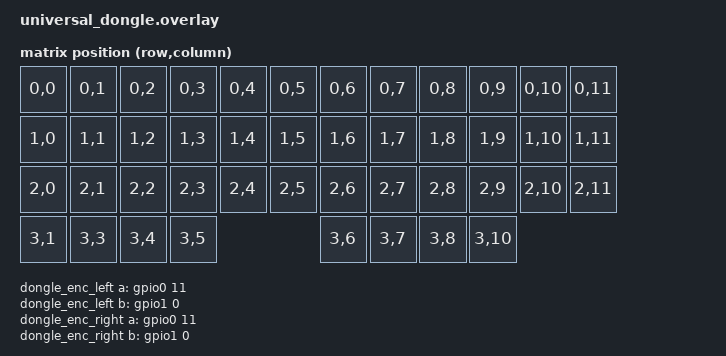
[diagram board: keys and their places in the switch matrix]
/*
 * Copyright (c) 2024 The ZMK Contributors
 *
 * SPDX-License-Identifier: MIT
 */

#include <dt-bindings/zmk/matrix_transform.h>
#include <dt-bindings/gpio/gpio.h>
#include "../../../behaviors/cirque_pointing.dtsi"

/ {
    chosen {
        zmk,kscan = &mock_kscan;
        zmk,matrix_transform = &default_transform;
    };

    mock_kscan: mock_kscan_0 {
        compatible = "zmk,kscan-mock";
        columns = <0>;
        rows = <0>;
        events = <0>;
    };

    // Universal dongle transform: supports Corne, Sweep, and Totem simultaneously.
    //
    // Global column layout (12 columns × 4 rows):
    //   col 0      : Corne left outer (finger rows only)
    //   cols 1-5   : Left inner finger keys (Sweep, Totem, Corne)
    //   cols 6-10  : Right inner finger keys (Sweep, Totem, Corne)
    //   col 11     : Corne right outer (finger rows only)
    //
    // Thumb row (row 3):
    //   RC(3,1)    : Totem ESC outer key
    //   RC(3,3-5)  : Left thumb cluster (all keyboards)
    //   RC(3,6-8)  : Right thumb cluster (all keyboards)
    //   RC(3,10)   : Totem BSLH outer key
    //
    // Keymap binding order per layer (44 keys):
    //   &none KM_*_R0 &none  (12 bindings × 3 finger rows)
    //   &kp ESC KM_THUMBS &kp BSLH  (8 bindings)
    default_transform: keymap_transform_0 {
        compatible = "zmk,matrix-transform";
        columns = <12>;
        rows = <4>;
        map = <
            RC(0,0) RC(0,1) RC(0,2) RC(0,3) RC(0,4) RC(0,5)    RC(0,6) RC(0,7) RC(0,8) RC(0,9) RC(0,10) RC(0,11)
            RC(1,0) RC(1,1) RC(1,2) RC(1,3) RC(1,4) RC(1,5)    RC(1,6) RC(1,7) RC(1,8) RC(1,9) RC(1,10) RC(1,11)
            RC(2,0) RC(2,1) RC(2,2) RC(2,3) RC(2,4) RC(2,5)    RC(2,6) RC(2,7) RC(2,8) RC(2,9) RC(2,10) RC(2,11)
            RC(3,1) RC(3,3) RC(3,4) RC(3,5)                    RC(3,6) RC(3,7) RC(3,8) RC(3,10)
        >;
    };

    // No physical encoders on the dongle: these disabled nodes are just
    // slots so the keymap sensor indexes match the peripheral halves.
    // sweep_dongle_left sends sensor index 0 (left encoder) and sweep_right
    // sends index 1 (right encoder) over the split transport.
    dongle_enc_left: dongle_enc_left {
        compatible = "alps,ec11";
        a-gpios = <&gpio0 11 (GPIO_ACTIVE_HIGH | GPIO_PULL_UP)>;
        b-gpios = <&gpio1 0 (GPIO_ACTIVE_HIGH | GPIO_PULL_UP)>;
        steps = <15>;
        status = "disabled";
    };
    dongle_enc_right: dongle_enc_right {
        compatible = "alps,ec11";
        a-gpios = <&gpio0 11 (GPIO_ACTIVE_HIGH | GPIO_PULL_UP)>;
        b-gpios = <&gpio1 0 (GPIO_ACTIVE_HIGH | GPIO_PULL_UP)>;
        steps = <15>;
        status = "disabled";
    };

    sensors: sensors {
        compatible = "zmk,keymap-sensors";
        sensors = <&dongle_enc_left &dongle_enc_right>;
    };

    // Split input transport — receives pointing data from sweep_right trackpad
    split_inputs {
        #address-cells = <1>;
        #size-cells = <0>;

        glidepoint_split: glidepoint_split@0 {
            compatible = "zmk,input-split";
            reg = <0>;
        };
    };
    glidepoint_listener: glidepoint_listener {
        compatible = "zmk,input-listener";
        status = "okay";
        device = <&glidepoint_split>;
        // Pointer-speed processor: scales trackpad REL_X/Y on the central.
        input-processors = <&pointer_processor 0 0>;
    };
};
